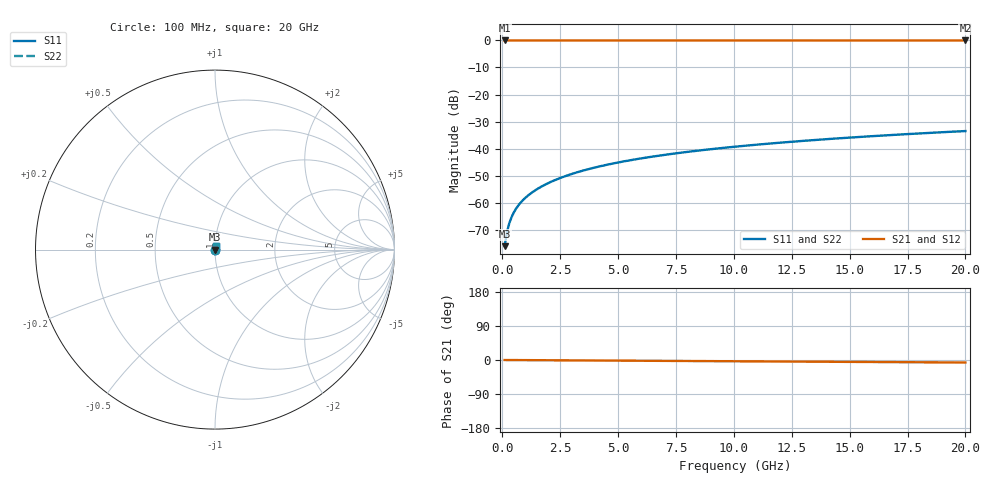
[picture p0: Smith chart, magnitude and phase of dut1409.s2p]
! Touchstone file exported from HFSS 2026.1.0
!  File:  C:/ffzhzh/LocalFiles/Ansys_Project_Files/temp_train_TSV_1409_1783197033_18472.aedt
!  Generated:  04:31:55 AM Jul  5, 2026
!  Design:  TSV
!  Project:  temp_train_TSV_1409_1783197033_18472
! Variables:
!  h_bsmrdl = 2um
!  h_ox = 20um
!  h_rdl = 5um
!  h_sub = 58.8um
!  h_tmrdl = 5um
!  h_tsv = 58.8um
!  h_via = 3um
!  l_bsmrdl = 300um
!  l_sub = 423.8um
!  l_tmrdl = 200um
!  m_sub = 200um
!  pitch = 57.7um
!  r_tsv = 11.9um
!  s_tmrdl = 10um
!  w_bsmrdl = 18um
!  w_sub = 500um
!  w_tmrdl = 12um
!  x_tsv_center1 = 206um
!  x_tsv_center2 = 524um
!  x_tsv_center3 = 736um
!  x_tsv_center4 = 1054um
!  x_tsv_center5 = 1266um
!  x_tsv_center6 = 1584um
# GHz S MA R 50.000000
! Terminal data exported
! Port[1] = TSV1_1_T1
! Port[2] = TSV1_1_T2
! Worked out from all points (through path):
!   200 points, 100 MHz to 20 GHz, reference 50 ohm
!   highest |S21| = 0.00 dB at 100 MHz (marker M1); lowest = 0.0 dB at 20 GHz (marker M2)
!   lowest |S11| = -76.1 dB at 100 MHz (marker M3), VSWR 1.00, Z = 50 + j0.0137 ohm
!   |S11| at or under -10 dB: start of sweep to end of sweep
!   |S22| runs from -76.1 to -33.5 dB; largest |S21 - S12| = 0
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0.1  0.0001571 60.3  0.9999 -0.0  0.9999 -0.0  0.0001571 60.3
! Gamma 0 0 0 0
! Port Impedance 50 0 50 0
0.2  0.0002845 72.2  0.9999 -0.1  0.9999 -0.1  0.0002845 72.2
0.3  0.0004139 76.0  0.9999 -0.1  0.9999 -0.1  0.0004139 76.0
0.4  0.0005406 77.5  0.9999 -0.1  0.9999 -0.1  0.0005406 77.5
0.5  0.0006635 78.3  0.9999 -0.2  0.9999 -0.2  0.0006635 78.3
0.6  0.0007827 78.8  0.9999 -0.2  0.9999 -0.2  0.0007827 78.8
0.7  0.0008989 79.2  0.9998 -0.2  0.9998 -0.2  0.0008989 79.2
0.9  0.001124 79.8  0.9998 -0.3  0.9998 -0.3  0.001124 79.8
1.1  0.001345 80.4  0.9998 -0.4  0.9998 -0.4  0.001345 80.4
1.3  0.001562 80.9  0.9998 -0.4  0.9998 -0.4  0.001562 80.9
1.6  0.001887 81.6  0.9997 -0.5  0.9997 -0.5  0.001887 81.6
1.9  0.002211 82.2  0.9997 -0.6  0.9997 -0.6  0.002211 82.2
2.6  0.002968 83.1  0.9997 -0.9  0.9997 -0.9  0.002968 83.1
3.5  0.003938 83.6  0.9996 -1.2  0.9996 -1.2  0.003938 83.6
4.2  0.004689 83.8  0.9996 -1.4  0.9996 -1.4  0.004689 83.8
5  0.005543 83.9  0.9996 -1.7  0.9996 -1.7  0.005543 83.9
6.8  0.007447 83.9  0.9995 -2.3  0.9995 -2.3  0.007447 83.9
8.3  0.009022 83.7  0.9994 -2.8  0.9994 -2.8  0.009022 83.7
10.1  0.0109 83.4  0.9993 -3.4  0.9993 -3.4  0.0109 83.4
13.4  0.01434 82.7  0.9992 -4.4  0.9992 -4.4  0.01434 82.7
16.7  0.01774 81.9  0.9991 -5.5  0.9991 -5.5  0.01774 81.9
20  0.02112 81.0  0.9989 -6.6  0.9989 -6.6  0.02112 81.0
